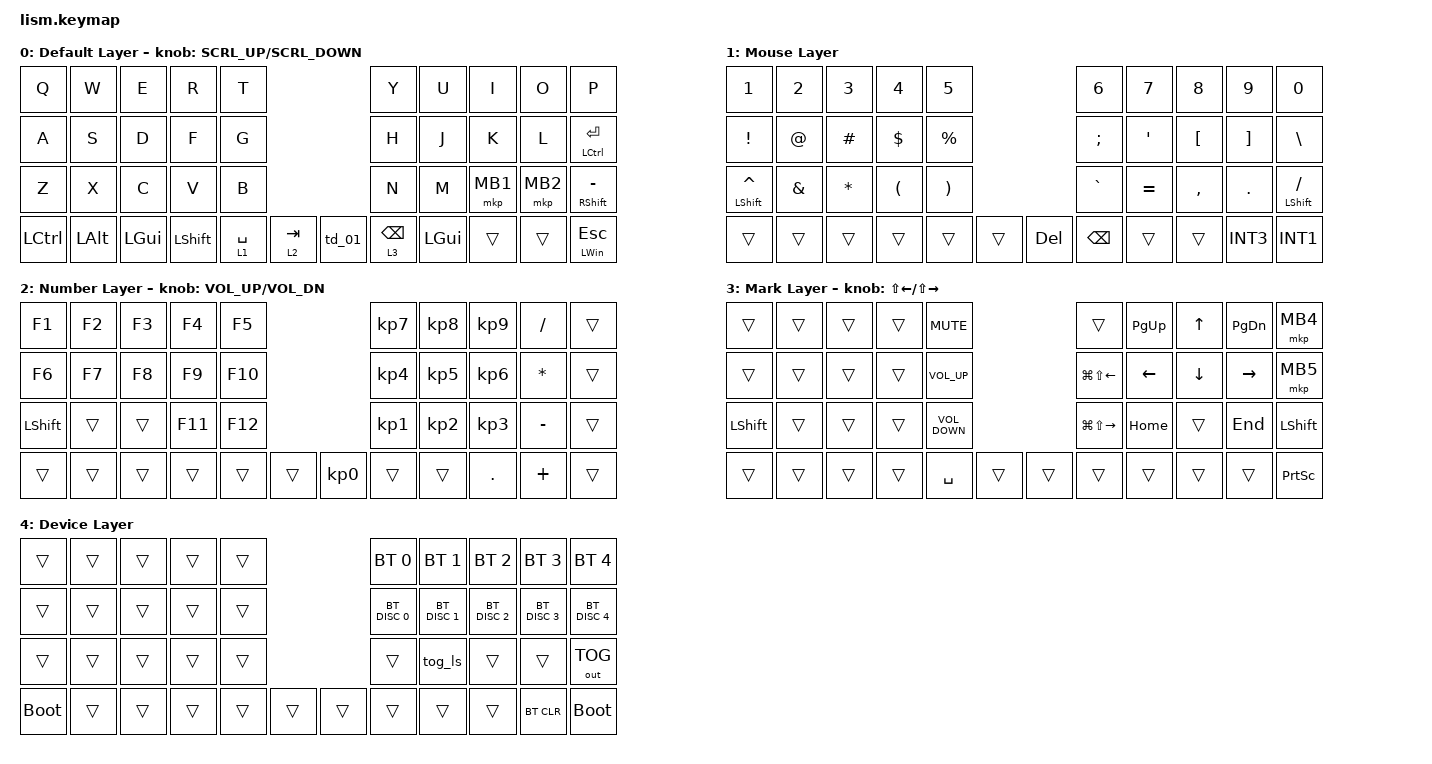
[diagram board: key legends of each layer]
#define ZMK_POINTING_DEFAULT_SCRL_VAL 200

#include <dt-bindings/zmk/mouse.h>
#include <zephyr/dt-bindings/input/input-event-codes.h>
#include <layout_shift_kp_override.dtsi>
#include <behaviors.dtsi>
#include <dt-bindings/zmk/bt.h>
#include <dt-bindings/zmk/keys.h>
#include <dt-bindings/zmk/outputs.h>
#include <dt-bindings/zmk/pointing.h>

// &kp EQUAL      通常は = を出力するが、JISレイアウトでは _ (JISレイアウトでの = に対応)を出力する
// &tog_ls        レイアウトシフトのオン/オフを切り替え
// &tog_ls_on     レイアウトシフトをオンにする
// &tog_ls_off    レイアウトシフトをオフにする

&mt {
    tapping-term-ms = <300>;
    flavor = "balanced";
};

&lt { quick-tap-ms = <300>; };

/ {
    behaviors {
        encoder_msc: sensor_rotate_msc {
            compatible = "zmk,behavior-sensor-rotate-var";
            #sensor-binding-cells = <2>;
            bindings = <&msc>, <&msc>;

            tap-ms = <20>;
        };

        encoder_kp: sensor_rotate_kp {
            compatible = "zmk,behavior-sensor-rotate-var";
            #sensor-binding-cells = <2>;
            bindings = <&kp>, <&kp>;
        };

        td_01: td_01 {
            compatible = "zmk,behavior-tap-dance";
            label = "TD_01";
            #binding-cells = <0>;
            bindings = <&kp LANG1>, <&kp LANG2>;
        };
    };

    combos {
        compatible = "zmk,combos";

        bt {
            bindings = <&mo 4>;
            key-positions = <34 35>;
        };

        mouse_click {
            bindings = <&mkp MB1>;
            key-positions = <17 18>;
        };

        scrol {
            bindings = <&mo 4>;
            key-positions = <27 28>;
        };

        scrol02 {
            bindings = <&mo 4>;
            key-positions = <7 8>;
        };
    };

    keymap {
        compatible = "zmk,keymap";

        default_layer {
            display-name = "Default Layer";
            bindings = <
&kp Q      &kp W         &kp E     &kp R           &kp T                             &kp Y            &kp U     &kp I     &kp O     &kp P
&kp A      &kp S         &kp D     &kp F           &kp G                             &kp H            &kp J     &kp K     &kp L     &mt LEFT_CONTROL ENTER
&kp Z      &kp X         &kp C     &kp V           &kp B                             &kp N            &kp M     &mkp MB1  &mkp MB2  &mt RIGHT_SHIFT MINUS
&kp LCTRL  &kp LEFT_ALT  &kp LGUI  &kp LEFT_SHIFT  &lt 1 SPACE  &lt 2 TAB    &td_01  &lt 3 BACKSPACE  &kp LGUI  &trans    &trans    &mt LEFT_WIN ESC
            >;

            sensor-bindings = <&encoder_msc SCRL_UP SCRL_DOWN>;
        };

        layer_1 {
            display-name = "Mouse Layer";
            bindings = <
&kp NUMBER_1          &kp NUMBER_2   &kp NUMBER_3  &kp NUMBER_4          &kp NUMBER_5                              &kp NUMBER_6   &kp NUMBER_7      &kp NUMBER_8      &kp NUMBER_9       &kp NUMBER_0
&kp EXCL              &kp AT         &kp HASH      &kp DOLLAR            &kp PERCENT                               &kp SEMICOLON  &kp SINGLE_QUOTE  &kp LEFT_BRACKET  &kp RIGHT_BRACKET  &kp BACKSLASH
&mt LEFT_SHIFT CARET  &kp AMPERSAND  &kp ASTERISK  &kp LEFT_PARENTHESIS  &kp RIGHT_PARENTHESIS                     &kp GRAVE      &kp EQUAL         &kp COMMA         &kp PERIOD         &mt LEFT_SHIFT SLASH
&trans                &trans         &trans        &trans                &trans                 &trans    &kp DEL  &kp BACKSPACE  &trans            &trans            &kp INT3           &kp INT1
            >;
        };

        layer_2 {
            display-name = "Number Layer";
            bindings = <
&kp F1          &kp F2  &kp F3  &kp F4   &kp F5                        &kp KP_N7  &kp KP_N8  &kp KP_N9   &kp SLASH     &trans
&kp F6          &kp F7  &kp F8  &kp F9   &kp F10                       &kp KP_N4  &kp KP_N5  &kp KP_N6   &kp ASTERISK  &trans
&kp LEFT_SHIFT  &trans  &trans  &kp F11  &kp F12                       &kp KP_N1  &kp KP_N2  &kp KP_N3   &kp MINUS     &trans
&trans          &trans  &trans  &trans   &trans   &trans    &kp KP_N0  &trans     &trans     &kp PERIOD  &kp PLUS      &trans
            >;

            sensor-bindings = <&encoder_kp C_VOL_UP C_VOL_DN>;
        };

        layer_3 {
            display-name = "Mark Layer";
            bindings = <
&trans          &trans  &trans  &trans  &kp C_MUTE                           &trans                   &kp PAGE_UP     &kp UP_ARROW    &kp PAGE_DOWN    &mkp MB4
&trans          &trans  &trans  &trans  &kp C_VOLUME_UP                      &kp LG(LS(LEFT_ARROW))   &kp LEFT_ARROW  &kp DOWN_ARROW  &kp RIGHT_ARROW  &mkp MB5
&kp LEFT_SHIFT  &trans  &trans  &trans  &kp C_VOLUME_DOWN                    &kp LG(LS(RIGHT_ARROW))  &kp HOME        &trans          &kp END          &kp LEFT_SHIFT
&trans          &trans  &trans  &trans  &kp SPACE          &trans    &trans  &trans                   &trans          &trans          &trans           &kp PRINTSCREEN
            >;

            sensor-bindings = <&encoder_kp LS(LEFT_ARROW) LS(RIGHT_ARROW)>;
        };

        layer_4 {
            display-name = "Device Layer";
            bindings = <
&trans       &trans  &trans  &trans  &trans                    &bt BT_SEL 0   &bt BT_SEL 1   &bt BT_SEL 2   &bt BT_SEL 3   &bt BT_SEL 4
&trans       &trans  &trans  &trans  &trans                    &bt BT_DISC 0  &bt BT_DISC 1  &bt BT_DISC 2  &bt BT_DISC 3  &bt BT_DISC 4
&trans       &trans  &trans  &trans  &trans                    &trans         &tog_ls        &trans         &trans         &out OUT_TOG
&bootloader  &trans  &trans  &trans  &trans  &trans    &trans  &trans         &trans         &trans         &bt BT_CLR     &bootloader
            >;
        };

        layer_5 {
            status = "reserved";
            display-name = "Brank Layer";
            bindings = <
&trans  &trans  &trans  &trans  &trans                    &trans  &trans  &trans  &trans  &trans
&trans  &trans  &trans  &trans  &trans                    &trans  &trans  &trans  &trans  &trans
&trans  &trans  &trans  &trans  &trans                    &trans  &trans  &trans  &trans  &trans
&trans  &trans  &trans  &trans  &trans  &trans    &trans  &trans  &trans  &trans  &trans  &trans
            >;
        };

        layer_6 {
            status = "reserved";
            display-name = "Brank Layer";
            bindings = <
&trans  &trans  &trans  &trans  &trans                    &trans  &trans  &trans  &trans  &trans
&trans  &trans  &trans  &trans  &trans                    &trans  &trans  &trans  &trans  &trans
&trans  &trans  &trans  &trans  &trans                    &trans  &trans  &trans  &trans  &trans
&trans  &trans  &trans  &trans  &trans  &trans    &trans  &trans  &trans  &trans  &trans  &trans
            >;
        };

        layer_7 {
            status = "reserved";
            display-name = "Brank Layer";
            bindings = <
&trans  &trans  &trans  &trans  &trans                    &trans  &trans  &trans  &trans  &trans
&trans  &trans  &trans  &trans  &trans                    &trans  &trans  &trans  &trans  &trans
&trans  &trans  &trans  &trans  &trans                    &trans  &trans  &trans  &trans  &trans
&trans  &trans  &trans  &trans  &trans  &trans    &trans  &trans  &trans  &trans  &trans  &trans
            >;
        };
    };
};
